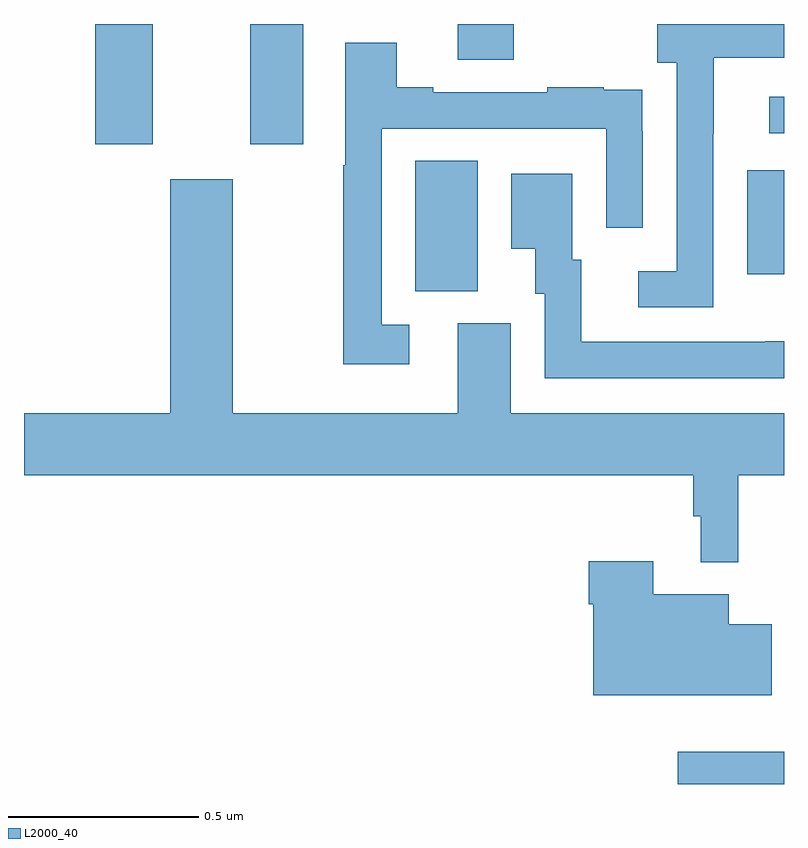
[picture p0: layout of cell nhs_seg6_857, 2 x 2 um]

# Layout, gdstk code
import gdstk
lib = gdstk.Library(unit=1e-6, precision=1e-09)
def R(c, l, rs):  # rectangles x0, y0, x1, y1
    for r in rs: c.add(gdstk.rectangle(r[:2], r[2:], *l))
def P(c, l, *ps):  # polygons
    for p in ps: c.add(gdstk.Polygon(p, *l))
L2000_40 = (2000, 40)

nhs_seg6_857 = lib.new_cell('nhs_seg6_857')
R(nhs_seg6_857, L2000_40, [(122.72,970.5,123,970.585), (122.03,971.797,122.194,972.14), (122.903,971.841,123,972.115), (121.187,972.183,121.339,972.5), (121.595,972.183,121.735,972.5), (122.961,972.213,123,972.309), (122.141,972.406,122.289,972.5)])
P(nhs_seg6_857, L2000_40, [(122.814,972.211),(122.815,972.211),(122.815,972.411),(123,972.411),(123,972.5),(122.667,972.5),(122.667,972.398),(122.718,972.398),(122.718,971.85),(122.616,971.85),(122.616,971.754),(122.814,971.754)],
  [(122.014,971.709),(121.941,971.709),(121.941,972.225),(122.532,972.225),(122.532,971.964),(122.628,971.964),(122.628,972.218),(122.627,972.218),(122.627,972.327),(122.525,972.327),(122.525,972.334),(122.377,972.334),(122.377,972.321),(122.077,972.321),(122.077,972.334),(121.981,972.334),(121.981,972.451),(121.845,972.451),(121.845,972.128),(121.84,972.128),(121.84,971.604),(122.014,971.604)],
  [(123,971.665),(122.951,971.665),(122.951,971.664),(122.467,971.664),(122.467,971.88),(122.443,971.88),(122.443,972.106),(122.282,972.106),(122.282,971.909),(122.345,971.909),(122.345,971.79),(122.37,971.79),(122.37,971.568),(123,971.568)],
  [(122.879,971.312),(123,971.312),(123,971.476),(122.281,971.476),(122.281,971.712),(122.141,971.712),(122.141,971.476),(121.549,971.476),(121.549,972.091),(121.385,972.091),(121.385,971.476),(121,971.476),(121,971.312),(122.761,971.312),(122.761,971.205),(122.781,971.205),(122.781,971.084),(122.879,971.084)],
  [(122.968,970.921),(122.854,970.921),(122.854,970.999),(122.656,970.999),(122.656,971.086),(122.486,971.086),(122.486,970.973),(122.498,970.973),(122.498,970.733),(122.968,970.733)])

lib.write_gds('nhs_seg6_857.gds')
